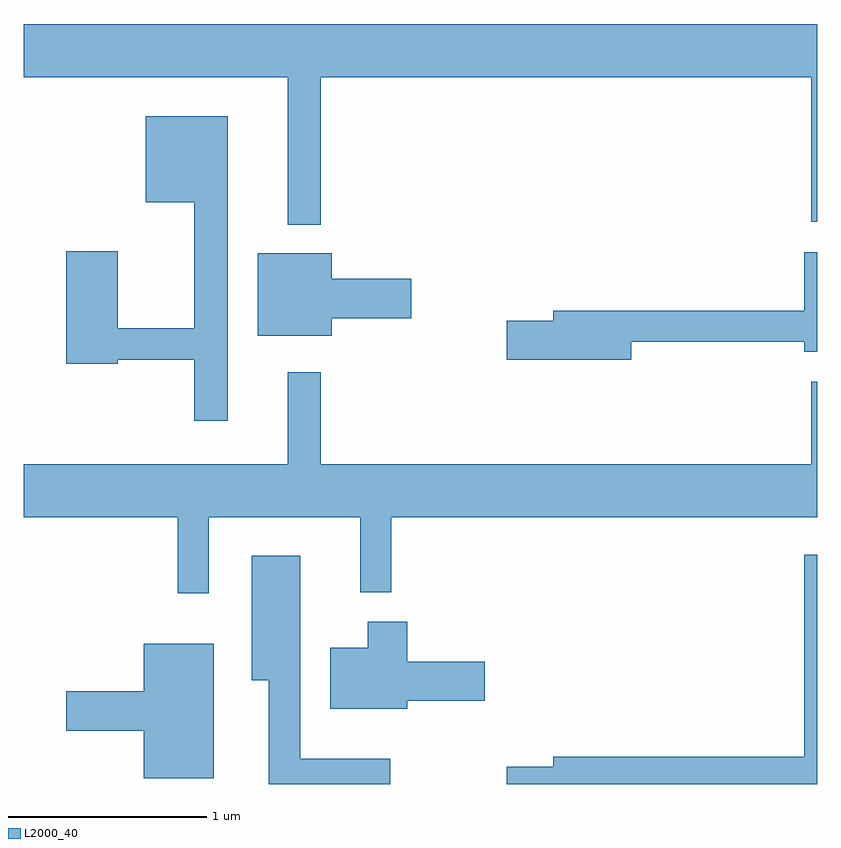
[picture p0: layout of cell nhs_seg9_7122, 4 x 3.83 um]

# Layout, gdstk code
import gdstk
lib = gdstk.Library(unit=1e-6, precision=1e-09)
def P(c, l, *ps):  # polygons
    for p in ps: c.add(gdstk.Polygon(p, *l))
L2000_40 = (2000, 40)

nhs_seg9_7122 = lib.new_cell('nhs_seg9_7122')
P(nhs_seg9_7122, L2000_40, [(397.109,2033.996),(399.581,2033.996),(399.581,2033.266),(399.611,2033.266),(399.611,2034.264),(395.611,2034.264),(395.611,2033.996),(396.941,2033.996),(396.941,2033.253),(397.109,2033.253)],
  [(396.639,2033.799),(396.226,2033.799),(396.226,2033.366),(396.471,2033.366),(396.471,2032.729),(396.084,2032.729),(396.084,2033.119),(395.826,2033.119),(395.826,2032.551),(396.084,2032.551),(396.084,2032.571),(396.471,2032.571),(396.471,2032.263),(396.639,2032.263)],
  [(398.674,2032.661),(399.546,2032.661),(399.546,2032.611),(399.611,2032.611),(399.611,2033.114),(399.546,2033.114),(399.546,2032.819),(398.281,2032.819),(398.281,2032.769),(398.046,2032.769),(398.046,2032.571),(398.674,2032.571)],
  [(397.164,2032.781),(397.564,2032.781),(397.564,2032.979),(397.164,2032.979),(397.164,2033.109),(396.791,2033.109),(396.791,2032.691),(397.164,2032.691)],
  [(396.544,2031.776),(397.306,2031.776),(397.306,2031.398),(397.464,2031.398),(397.464,2031.776),(399.611,2031.776),(399.611,2032.459),(399.581,2032.459),(399.581,2032.044),(397.109,2032.044),(397.109,2032.508),(396.941,2032.508),(396.941,2032.044),(395.611,2032.044),(395.611,2031.776),(396.386,2031.776),(396.386,2031.393),(396.544,2031.393)],
  [(399.611,2031.589),(399.546,2031.589),(399.546,2030.569),(398.281,2030.569),(398.281,2030.519),(398.046,2030.519),(398.046,2030.432),(399.611,2030.432)],
  [(397.459,2030.559),(397.004,2030.559),(397.004,2031.584),(396.761,2031.584),(396.761,2030.956),(396.846,2030.956),(396.846,2030.432),(397.459,2030.432)],
  [(397.544,2030.851),(397.934,2030.851),(397.934,2031.049),(397.544,2031.049),(397.544,2031.249),(397.346,2031.249),(397.346,2031.119),(397.156,2031.119),(397.156,2030.811),(397.544,2030.811)],
  [(396.569,2031.139),(396.216,2031.139),(396.216,2030.899),(395.826,2030.899),(395.826,2030.701),(396.216,2030.701),(396.216,2030.461),(396.569,2030.461)])

lib.write_gds('nhs_seg9_7122.gds')
